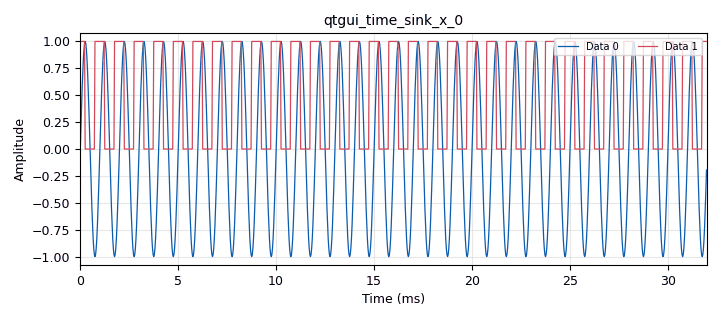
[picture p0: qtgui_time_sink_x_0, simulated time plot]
<?xml version='1.0' encoding='utf-8'?>
<?grc format='1' created='3.7.9'?>
<flow_graph>
<block>
<key>options</key>
<param><key>id</key><value>top_block</value></param>
<param><key>category</key><value>Custom</value></param>
<param><key>generate_options</key><value>qt_gui</value></param>
</block>
<block>
<key>variable</key>
<param><key>id</key><value>samp_rate</value></param>
<param><key>value</key><value>32000</value></param>
</block>
<block>
<key>analog_sig_source_x</key>
<param><key>id</key><value>analog_sig_source_x_0</value></param>
<param><key>amp</key><value>1</value></param>
<param><key>freq</key><value>1000</value></param>
<param><key>offset</key><value>0</value></param>
<param><key>type</key><value>float</value></param>
<param><key>samp_rate</key><value>samp_rate</value></param>
<param><key>waveform</key><value>analog.GR_COS_WAVE</value></param>
</block>
<block>
<key>analog_sig_source_x</key>
<param><key>id</key><value>analog_sig_source_x_0_0</value></param>
<param><key>amp</key><value>1</value></param>
<param><key>freq</key><value>1000</value></param>
<param><key>offset</key><value>0</value></param>
<param><key>type</key><value>float</value></param>
<param><key>samp_rate</key><value>samp_rate</value></param>
<param><key>waveform</key><value>analog.GR_SQR_WAVE</value></param>
</block>
<block>
<key>qtgui_time_sink_x</key>
<param><key>id</key><value>qtgui_time_sink_x_0</value></param>
<param><key>ctrlpanel</key><value>True</value></param>
<param><key>grid</key><value>True</value></param>
<param><key>color1</key><value>"blue"</value></param>
<param><key>label1</key><value></value></param>
<param><key>color2</key><value>"red"</value></param>
<param><key>label2</key><value></value></param>
<param><key>nconnections</key><value>2</value></param>
<param><key>size</key><value>1024</value></param>
<param><key>srate</key><value>samp_rate</value></param>
<param><key>tr_mode</key><value>qtgui.TRIG_MODE_AUTO</value></param>
<param><key>type</key><value>float</value></param>
</block>
<connection><source_block_id>analog_sig_source_x_0</source_block_id><sink_block_id>qtgui_time_sink_x_0</sink_block_id><source_key>0</source_key><sink_key>0</sink_key></connection>
<connection><source_block_id>analog_sig_source_x_0_0</source_block_id><sink_block_id>qtgui_time_sink_x_0</sink_block_id><source_key>0</source_key><sink_key>1</sink_key></connection>
</flow_graph>
